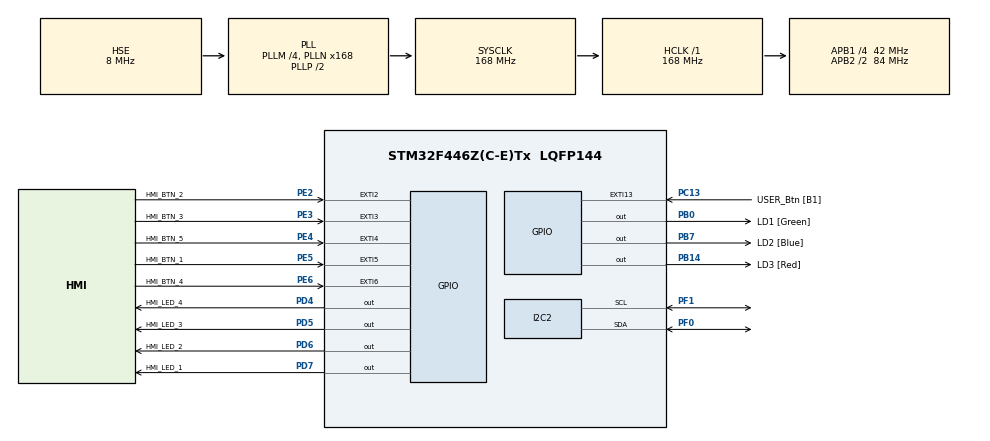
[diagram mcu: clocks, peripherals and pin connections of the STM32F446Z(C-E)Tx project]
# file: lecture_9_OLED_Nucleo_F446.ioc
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Mcu.Family=STM32F4
Mcu.Name=STM32F446Z(C-E)Tx
Mcu.Package=LQFP144
NVIC.EXTI15_10_IRQn=true\:0\:0\:false\:false\:true\:true\:true\:true
NVIC.EXTI2_IRQn=true\:0\:0\:false\:false\:true\:true\:true\:true
NVIC.EXTI3_IRQn=true\:0\:0\:false\:false\:true\:true\:true\:true
NVIC.EXTI4_IRQn=true\:0\:0\:false\:false\:true\:true\:true\:true
NVIC.EXTI9_5_IRQn=true\:0\:0\:false\:false\:true\:true\:true\:true
NVIC.PriorityGroup=NVIC_PRIORITYGROUP_4
PA13.Mode=Serial_Wire
PA13.Signal=SYS_JTMS-SWDIO
PA14.Mode=Serial_Wire
PA14.Signal=SYS_JTCK-SWCLK
PB0.GPIO_Label=LD1 [Green]
PB0.Signal=GPIO_Output
PB14.GPIO_Label=LD3 [Red]
PB14.Signal=GPIO_Output
PB7.GPIO_Label=LD2 [Blue]
PB7.Signal=GPIO_Output
PC13.GPIO_Label=USER_Btn [B1]
PC13.Signal=GPXTI13
PC14-OSC32_IN.Mode=LSE-External-Oscillator
PC14-OSC32_IN.Signal=RCC_OSC32_IN
PC15-OSC32_OUT.Mode=LSE-External-Oscillator
PC15-OSC32_OUT.Signal=RCC_OSC32_OUT
PD4.GPIO_Label=HMI_LED_4
PD4.GPIO_ModeDefaultOutputPP=GPIO_MODE_OUTPUT_PP
PD4.GPIO_PuPd=GPIO_NOPULL
PD4.GPIO_Speed=GPIO_SPEED_FREQ_LOW
PD4.PinState=GPIO_PIN_RESET
PD4.Signal=GPIO_Output
PD5.GPIO_Label=HMI_LED_3
PD5.GPIO_ModeDefaultOutputPP=GPIO_MODE_OUTPUT_PP
PD5.GPIO_PuPd=GPIO_NOPULL
PD5.GPIO_Speed=GPIO_SPEED_FREQ_LOW
PD5.PinState=GPIO_PIN_RESET
PD5.Signal=GPIO_Output
PD6.GPIO_Label=HMI_LED_2
PD6.GPIO_ModeDefaultOutputPP=GPIO_MODE_OUTPUT_PP
PD6.GPIO_PuPd=GPIO_NOPULL
PD6.GPIO_Speed=GPIO_SPEED_FREQ_LOW
PD6.PinState=GPIO_PIN_RESET
PD6.Signal=GPIO_Output
PD7.GPIO_Label=HMI_LED_1
PD7.GPIO_ModeDefaultOutputPP=GPIO_MODE_OUTPUT_PP
PD7.GPIO_PuPd=GPIO_NOPULL
PD7.GPIO_Speed=GPIO_SPEED_FREQ_LOW
PD7.PinState=GPIO_PIN_RESET
PD7.Signal=GPIO_Output
PE2.GPIO_Label=HMI_BTN_2
PE2.GPIO_ModeDefaultEXTI=GPIO_MODE_IT_RISING_FALLING
PE2.GPIO_PuPd=GPIO_PULLDOWN
PE2.Signal=GPXTI2
PE3.GPIO_Label=HMI_BTN_3
PE3.GPIO_ModeDefaultEXTI=GPIO_MODE_IT_RISING_FALLING
PE3.GPIO_PuPd=GPIO_PULLDOWN
PE3.Signal=GPXTI3
PE4.GPIO_Label=HMI_BTN_5
PE4.GPIO_ModeDefaultEXTI=GPIO_MODE_IT_RISING_FALLING
PE4.GPIO_PuPd=GPIO_PULLDOWN
PE4.Signal=GPXTI4
PE5.GPIO_Label=HMI_BTN_1
PE5.GPIO_ModeDefaultEXTI=GPIO_MODE_IT_RISING_FALLING
PE5.GPIO_PuPd=GPIO_PULLDOWN
PE5.Signal=GPXTI5
PE6.GPIO_Label=HMI_BTN_4
PE6.GPIO_ModeDefaultEXTI=GPIO_MODE_IT_RISING_FALLING
PE6.GPIO_PuPd=GPIO_PULLDOWN
PE6.Signal=GPXTI6
PF0.Mode=I2C
PF0.Signal=I2C2_SDA
PF1.Mode=I2C
PF1.Signal=I2C2_SCL
PH0-OSC_IN.Mode=HSE-External-Clock-Source
PH0-OSC_IN.Signal=RCC_OSC_IN
PH1-OSC_OUT.Mode=HSE-External-Clock-Source
PH1-OSC_OUT.Signal=RCC_OSC_OUT
ProjectManager.HeapSize=0x200
ProjectManager.StackSize=0x400
ProjectManager.TargetToolchain=STM32CubeIDE
RCC.48MHZClocksFreq_Value=24000000
RCC.AHBFreq_Value=168000000
RCC.APB1CLKDivider=RCC_HCLK_DIV4
RCC.APB1Freq_Value=42000000
RCC.APB1TimFreq_Value=84000000
RCC.APB2CLKDivider=RCC_HCLK_DIV2
RCC.APB2Freq_Value=84000000
RCC.APB2TimFreq_Value=168000000
RCC.CortexFreq_Value=168000000
RCC.HCLKFreq_Value=168000000
RCC.HSE_VALUE=8000000
RCC.HSI_VALUE=16000000
RCC.PLLM=4
RCC.PLLMUL=RCC_PLL_MUL9
RCC.PLLN=168
RCC.PLLQ=7
RCC.PLLSourceVirtual=RCC_PLLSOURCE_HSE
RCC.PRESCALERUSB=RCC_USBCLKSOURCE_PLL_DIV1_5
RCC.SYSCLKFreq_VALUE=168000000
RCC.SYSCLKSource=RCC_SYSCLKSOURCE_PLLCLK
RCC.SYSCLKSourceVirtual=RCC_SYSCLKSOURCE_PLLCLK
RCC.USBFreq_Value=48000000
RCC.VCOOutputFreq_Value=336000000
board=NUCLEO-F446ZE

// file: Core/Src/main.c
/* USER CODE BEGIN Header */
/**
  ******************************************************************************
  * @file           : main.c
  * @brief          : Main program body
  ******************************************************************************
  * @attention
  *
  * Copyright (c) 2024 STMicroelectronics.
  * All rights reserved.
  *
  * This software is licensed under terms that can be found in the LICENSE file
  * in the root directory of this software component.
  * If no LICENSE file comes with this software, it is provided AS-IS.
  *
  ******************************************************************************
  */
/* USER CODE END Header */
#include "main.h"
#include "i2c.h"
#include "gpio.h"

/* USER CODE BEGIN Includes */
#include "OLED.h"
#include <stdlib.h>
/* USER CODE END Includes */

/* USER CODE BEGIN PTD */

// Enumeration for state machine
typedef enum
{
    OLED_STATE_CCE = 0x00,          // Crystal Clear Electronics
    OLED_STATE_FONTS = 0x01,        // Character set review
    OLED_STATE_LINE = 0x02,         // Random Line generator
    OLED_STATE_RECTANGLE = 0x03,    // Rectangle screen saver
    OLED_STATE_CIRCLE = 0x04,       // Pipe - Circle screen saver
    OLED_STATE_ARC = 0x05,          // Arc
    OLED_STATE_POLYLINE = 0x06      // Polyline
} OLED_Test_state;

/* USER CODE END PTD */

/* USER CODE BEGIN PV */
OLED_Test_state test_state = OLED_STATE_CCE;

GPIO_PinState previous_button_state[3] = {0u, 0u, 0u};
GPIO_PinState current_button_state[3] = {0u, 0u, 0u};

uint8_t start_x = 0u;
uint8_t start_r = 1u;
uint16_t start_angle = 0u;

/* USER CODE END PV */

void SystemClock_Config(void);

/* USER CODE BEGIN 0 */

// Random Line generator
void OLED_TestLine()
{
    int random_x1 = rand() % 128; // random number between 0 and 127
    int random_x2 = rand() % 128; // random number between 0 and 127

    OLED_DrawLine((uint8_t)random_x1, 0, (uint8_t)random_x2, 63, WHITE);

    return;
}

// Rectangle screen saver
void OLED_TestRectangle()
{
    uint32_t delta;

    for (delta = 0; delta < 5; delta ++)
    {
        OLED_DrawRectangle(1 + (5*delta),1 + (5*delta) ,OLED_WIDTH-1 - (5*delta),OLED_HEIGHT-1 - (5*delta), WHITE);
    }

    return;
}

// Pipe - Circle screen saver
void OLED_TestCircle(uint8_t* x, uint8_t* r)
{
    OLED_DrawCircle(*x, 31, *r, WHITE);
    *r += 1;
    *x += 2;

    if (100 < *x)
    {
        *x = 0;
        *r = 1;
        OLED_Fill(BLACK);
    }

    return;
}

// Arc
void OLED_TestArc(uint16_t* angle)
{
    OLED_Fill(BLACK);
    OLED_DrawArc(63, 31, 5, *angle, 270+(*angle), WHITE);
    OLED_DrawArc(63, 31, 10, *angle, 270+(*angle), WHITE);
    OLED_DrawArc(63, 31, 15, *angle, 270+(*angle), WHITE);
    OLED_DrawArc(63, 31, 20, *angle, 270+(*angle), WHITE);

    *angle += 10;

    return;
}

// Polyline
void OLED_TestPolyline()
{
  OLED_Vertex loc_vertex[] =
  {
      {63,11},
      {43,20},
      {63,51},
      {83,20},
      {63,11}
  };

  OLED_DrawPolyline(loc_vertex,sizeof(loc_vertex)/sizeof(loc_vertex[0]),WHITE);

  return;
}

// Character set review
void OLED_TestFonts()
{
    OLED_SetCursor(2, 0);
    OLED_WriteString("16x26", Font_16x26, WHITE);
    OLED_SetCursor(2, 26);
    OLED_WriteString("11x18", Font_11x18, WHITE);
    OLED_SetCursor(2, 26+18);
    OLED_WriteString("7x10", Font_7x10, WHITE);
    OLED_SetCursor(2, 26+18+10);
    OLED_WriteString("6x8", Font_6x8, WHITE);

    return;
}

// Crystal Clear Electronics
void OLED_TestCCE()
{
    OLED_SetCursor(25, 5);
    OLED_WriteString("Crystal", Font_11x18, WHITE);
    OLED_SetCursor(36, 5+18);
    OLED_WriteString("Clear", Font_11x18, WHITE);
    OLED_SetCursor(3, 5+18+18);
    OLED_WriteString("Electronics", Font_11x18, WHITE);

    return;
}

/* USER CODE END 0 */

int main(void)
{

  /* MCU Configuration--------------------------------------------------------*/

  /* Reset of all peripherals, Initializes the Flash interface and the Systick. */
  HAL_Init();

  /* Configure the system clock */
  SystemClock_Config();

  /* Initialize all configured peripherals */
  MX_GPIO_Init();
  MX_I2C2_Init();
  /* USER CODE BEGIN 2 */

  OLED_Init();

  HAL_Delay(1000);
  OLED_Fill(BLACK);
  OLED_UpdateScreen();
  HAL_Delay(1000);

  /* USER CODE END 2 */

  /* Infinite loop */
  /* USER CODE BEGIN WHILE */
  while (1)
  {
	    // Button handling - read the button states
	    current_button_state[0] = HAL_GPIO_ReadPin(HMI_BTN_2_GPIO_Port, HMI_BTN_2_Pin);
	    current_button_state[1] = HAL_GPIO_ReadPin(HMI_BTN_3_GPIO_Port, HMI_BTN_3_Pin);
	    current_button_state[2] = HAL_GPIO_ReadPin(HMI_BTN_4_GPIO_Port, HMI_BTN_4_Pin);

	    // Left button
	    if ((current_button_state[0] != previous_button_state[0]) && (GPIO_PIN_RESET == current_button_state[0]))
	    {
	        if(OLED_STATE_CCE == test_state)
	        {
	            test_state = OLED_STATE_POLYLINE;
	        }
	        else
	        {
	            test_state -= 1;
	        }

	        // Cleanup the screen
	        OLED_Fill(BLACK);
	        OLED_UpdateScreen();
	    }

	    // Right button
	    if ((current_button_state[2] != previous_button_state[2]) && (GPIO_PIN_RESET == current_button_state[2]))
	    {
	        if(OLED_STATE_POLYLINE == test_state)
	        {
	            test_state = OLED_STATE_CCE;
	        }
	        else
	        {
	            test_state += 1;
	        }

	        // Cleanup the screen
	        OLED_Fill(BLACK);
	        OLED_UpdateScreen();
	    }

	    // Inverse color button
	    if ((current_button_state[1] != previous_button_state[1]) && (GPIO_PIN_RESET == current_button_state[1]))
	    {
	        if(OFF == OLED_GetDisplayInverse())
	        {
	            // Set inverse color
	            OLED_SetDisplayInverse(ON);
	        }
	        else
	        {
	            // Set normal color
	            OLED_SetDisplayInverse(OFF);
	        }
	    }

	    // Button state can be monitored on LEDs
	    HAL_GPIO_WritePin(HMI_LED_2_GPIO_Port, HMI_LED_2_Pin, current_button_state[0]);
	    HAL_GPIO_WritePin(HMI_LED_3_GPIO_Port, HMI_LED_3_Pin, current_button_state[1]);
	    HAL_GPIO_WritePin(HMI_LED_4_GPIO_Port, HMI_LED_4_Pin, current_button_state[2]);

	    // Save the current button states
	    previous_button_state[0] = current_button_state[0];
	    previous_button_state[1] = current_button_state[1];
	    previous_button_state[2] = current_button_state[2];

	    // Select OLED test function
	    switch (test_state)
	    {
	    case OLED_STATE_FONTS:			// Character set review
	        OLED_TestFonts();
	        break;
	    case OLED_STATE_LINE:			// Random Line generator
	        OLED_TestLine();
	        break;
	    case OLED_STATE_RECTANGLE:		// Rectangle screen saver
	        OLED_TestRectangle();
	        break;
	    case OLED_STATE_CIRCLE:			// Pipe - Circle screen saver
	        OLED_TestCircle(&start_x, &start_r);
	        break;
	    case OLED_STATE_ARC:			// Arc
	        OLED_TestArc(&start_angle);
	        break;
	    case OLED_STATE_POLYLINE:		// Polyline
	        OLED_TestPolyline();
	        break;
	    case OLED_STATE_CCE:   			 // Crystal Clear Electronics
	    default:
	        OLED_TestCCE();
	        break;
	    }

	    OLED_UpdateScreen();
	    HAL_Delay(50);

    /* USER CODE END WHILE */

  }
}

void SystemClock_Config(void)
{
  RCC_OscInitTypeDef RCC_OscInitStruct = {0};
  RCC_ClkInitTypeDef RCC_ClkInitStruct = {0};

  /** Configure the main internal regulator output voltage
  */
  __HAL_RCC_PWR_CLK_ENABLE();
  __HAL_PWR_VOLTAGESCALING_CONFIG(PWR_REGULATOR_VOLTAGE_SCALE1);

  /** Initializes the RCC Oscillators according to the specified parameters
  * in the RCC_OscInitTypeDef structure.
  */
  RCC_OscInitStruct.OscillatorType = RCC_OSCILLATORTYPE_HSE;
  RCC_OscInitStruct.HSEState = RCC_HSE_BYPASS;
  RCC_OscInitStruct.PLL.PLLState = RCC_PLL_ON;
  RCC_OscInitStruct.PLL.PLLSource = RCC_PLLSOURCE_HSE;
  RCC_OscInitStruct.PLL.PLLM = 4;
  RCC_OscInitStruct.PLL.PLLN = 168;
  RCC_OscInitStruct.PLL.PLLP = RCC_PLLP_DIV2;
  RCC_OscInitStruct.PLL.PLLQ = 7;
  RCC_OscInitStruct.PLL.PLLR = 2;
  if (HAL_RCC_OscConfig(&RCC_OscInitStruct) != HAL_OK)
  {
    Error_Handler();
  }

  /** Initializes the CPU, AHB and APB buses clocks
  */
  RCC_ClkInitStruct.ClockType = RCC_CLOCKTYPE_HCLK|RCC_CLOCKTYPE_SYSCLK
                              |RCC_CLOCKTYPE_PCLK1|RCC_CLOCKTYPE_PCLK2;
  RCC_ClkInitStruct.SYSCLKSource = RCC_SYSCLKSOURCE_PLLCLK;
  RCC_ClkInitStruct.AHBCLKDivider = RCC_SYSCLK_DIV1;
  RCC_ClkInitStruct.APB1CLKDivider = RCC_HCLK_DIV4;
  RCC_ClkInitStruct.APB2CLKDivider = RCC_HCLK_DIV2;

  if (HAL_RCC_ClockConfig(&RCC_ClkInitStruct, FLASH_LATENCY_5) != HAL_OK)
  {
    Error_Handler();
  }
}

void Error_Handler(void)
{
  __disable_irq();
  while (1)
  {
  }
}
